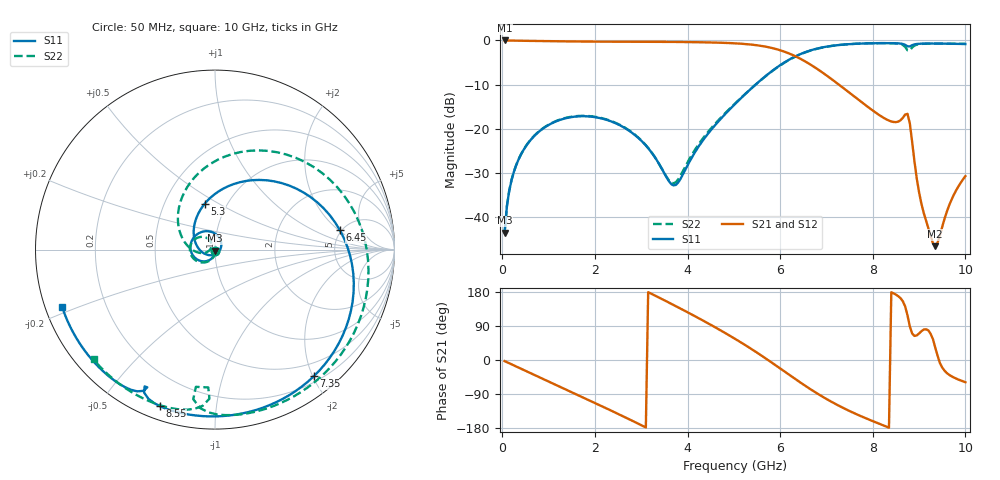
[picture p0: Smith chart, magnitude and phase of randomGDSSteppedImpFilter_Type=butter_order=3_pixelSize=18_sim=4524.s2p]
! freq	dB(S11)	phase(S11)	dB(S12)	phase(S12)
!  dB(S21)	phase(S21)	dB(S22)	phase(S22)
!S-par simulation data
#  GHz  S  DB  R 50
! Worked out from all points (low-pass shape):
!   200 points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, 50 MHz to 10 GHz, reference 50 ohm
!   highest |S21| = -0.02 dB at 50 MHz (marker M1); lowest = -46.6 dB at 9.35 GHz (marker M2)
!   |S21| within 3 dB of the highest: start of sweep to 6.205 GHz
!   lowest |S11| = -43.5 dB at 50 MHz (marker M3), VSWR 1.01, Z = 50.1 - j0.662 ohm
!   |S11| at or under -10 dB: start of sweep to 5.471 GHz
!   |S22| runs from -43.5 to -0.6 dB; largest |S21 - S12| = 0
!   S11 on the Smith chart (normalised r, x): 50 MHz: 1.00, -0.01; 5.3 GHz: 0.79, +0.43; 6.45 GHz: 4.82, +2.08; 7.35 GHz: 0.28, -2.01; 8.55 GHz: 0.06, -0.71; 10 GHz: 0.05, -0.18
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0.05  -43.51 -82.3  -0.02 -2.9  -0.02 -2.9  -43.47 -82.0
0.2  -31.62 -94.2  -0.05 -11.4  -0.05 -11.4  -31.59 -92.9
0.5  -24.12 -115.9  -0.10 -28.5  -0.10 -28.5  -24.06 -112.7
1.15  -18.38 -157.6  -0.20 -65.2  -0.20 -65.2  -18.30 -149.3
1.75  -17.16 164.5  -0.27 -99.1  -0.27 -99.1  -17.08 179.1
2.65  -19.86 102.6  -0.30 -151.1  -0.30 -151.1  -19.77 136.1
3.4  -28.24 27.5  -0.33 163.8  -0.33 163.8  -28.21 121.4
3.75  -32.72 -63.2  -0.36 142.0  -0.36 142.0  -32.08 169.4
4.3  -23.10 -166.0  -0.43 106.4  -0.43 106.4  -22.63 -164.7
5.05  -14.15 123.5  -0.68 54.1  -0.68 54.1  -14.04 159.0
5.3  -11.63 102.6  -0.88 35.2  -0.88 35.2  -11.60 141.8
5.8  -7.13 61.5  -1.67 -5.2  -1.67 -5.2  -7.18 101.7
6.45  -3.05 8.9  -4.24 -60.5  -4.24 -60.5  -3.10 44.2
6.7  -2.13 -10.0  -5.78 -80.6  -5.78 -80.6  -2.17 23.0
7.35  -0.96 -52.1  -10.67 -125.8  -10.67 -125.8  -0.98 -24.5
8.35  -0.63 -100.6  -18.17 -178.6  -18.17 -178.6  -0.63 -79.0
8.55  -0.68 -109.4  -18.40 168.4  -18.40 168.4  -0.74 -89.3
8.75  -1.34 -117.2  -16.63 117.7  -16.63 117.7  -2.25 -97.9
8.85  -1.09 -116.8  -22.96 70.1  -22.96 70.1  -1.61 -92.1
9.05  -0.74 -125.1  -36.98 75.9  -36.98 75.9  -0.80 -102.2
9.35  -0.72 -136.4  -46.59 32.3  -46.59 32.3  -0.72 -114.7
10  -0.82 -159.4  -30.73 -58.7  -30.73 -58.7  -0.80 -137.9
